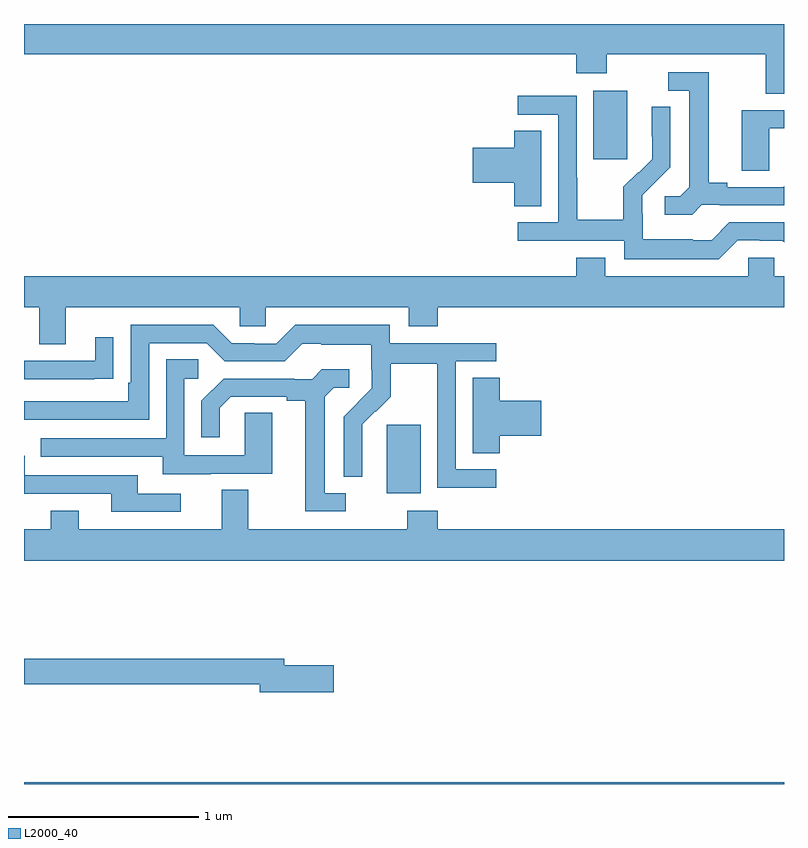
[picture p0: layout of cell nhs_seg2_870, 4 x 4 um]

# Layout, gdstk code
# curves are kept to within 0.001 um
import gdstk
lib = gdstk.Library(unit=1e-6, precision=1e-09)
def R(c, l, rs):  # rectangles x0, y0, x1, y1
    for r in rs: c.add(gdstk.rectangle(r[:2], r[2:], *l))
def P(c, l, *ps):  # polygons
    for p in ps: c.add(gdstk.Polygon(p, *l))
L2000_40 = (2000, 40)

nhs_seg2_870 = lib.new_cell('nhs_seg2_870')
R(nhs_seg2_870, L2000_40, [(155,639.8,159,639.808), (156.908,641.33,157.087,641.691), (157.997,643.089,158.176,643.45)])
P(nhs_seg2_870, L2000_40, [(159,643.8),(155,643.8),(155,643.64),(157.907,643.64),(157.907,643.541),(158.067,643.541),(158.067,643.64),(158.903,643.64),(158.903,643.432),(159,643.432)],
  [(158.568,642.849),(158.662,642.849),(158.662,642.846),(159,642.846),(159,642.946),(158.996,642.942),(158.701,642.942),(158.701,642.965),(158.605,642.965),(158.605,643.545),(158.391,643.545),(158.391,643.449),(158.501,643.449),(158.501,642.941),(158.454,642.894),(158.373,642.894),(158.373,642.797),(158.516,642.797)],
  [(158.757,642.663),(158.873,642.663),(158.873,642.66),(158.991,642.66),(159,642.651),(159,642.756),(158.712,642.756),(158.619,642.663),(158.519,642.663),(158.519,642.667),(158.256,642.667),(158.256,642.801),(158.254,642.801),(158.254,642.898),(158.4,643.046),(158.4,643.364),(158.304,643.364),(158.304,643.21),(158.306,643.21),(158.306,643.088),(158.235,643.017),(158.232,643.02),(158.155,642.943),(158.155,642.769),(157.911,642.769),(157.911,642.992),(157.908,642.992),(157.908,643.422),(157.599,643.422),(157.599,643.323),(157.812,643.323),(157.812,642.756),(157.599,642.756),(157.599,642.66),(158.16,642.66),(158.16,642.563),(158.657,642.563)],
  [(158.922,643.251),(159,643.251),(159,643.347),(158.777,643.347),(158.777,643.027),(158.922,643.027)],
  [(157.723,643.238),(157.58,643.238),(157.58,643.148),(157.362,643.148),(157.362,642.965),(157.58,642.965),(157.58,642.841),(157.723,642.841)],
  [(155.221,642.308),(156.135,642.308),(156.135,642.21),(156.273,642.21),(156.273,642.308),(157.025,642.308),(157.025,642.209),(157.178,642.209),(157.178,642.308),(159,642.308),(159,642.472),(158.949,642.472),(158.949,642.57),(158.811,642.57),(158.811,642.472),(158.059,642.472),(158.059,642.571),(157.907,642.571),(157.907,642.472),(155,642.472),(155,642.308),(155.081,642.308),(155.081,642.114),(155.221,642.114)],
  [(157.486,641.457),(157.272,641.457),(157.272,642.024),(157.486,642.024),(157.486,642.12),(156.924,642.12),(156.924,642.217),(156.427,642.217),(156.327,642.117),(156.212,642.117),(156.212,642.12),(156.093,642.12),(155.997,642.216),(155.562,642.216),(155.562,641.911),(155.549,641.911),(155.549,641.814),(155,641.814),(155,641.718),(155.658,641.718),(155.658,642.12),(155.961,642.12),(156.057,642.024),(156.372,642.024),(156.465,642.117),(156.565,642.117),(156.565,642.113),(156.828,642.113),(156.828,641.979),(156.83,641.979),(156.83,641.882),(156.684,641.734),(156.684,641.416),(156.78,641.416),(156.779,641.693),(156.849,641.763),(156.852,641.76),(156.929,641.837),(156.929,642.012),(157.174,642.012),(157.174,641.788),(157.176,641.788),(157.176,641.359),(157.486,641.359)],
  [(155.369,641.932),(155.471,641.932),(155.471,642.151),(155.375,642.151),(155.375,642.027),(155,642.027),(155,641.931),(155.369,641.931)],
  [(155.983,641.433),(156.307,641.433),(156.307,641.753),(156.162,641.753),(156.162,641.529),(155.844,641.529),(155.844,641.934),(155.917,641.934),(155.917,642.035),(155.748,642.035),(155.748,641.619),(155.089,641.619),(155.089,641.523),(155.729,641.523),(155.729,641.429),(155.983,641.429)],
  [(156.694,641.331),(156.583,641.331),(156.583,641.839),(156.63,641.886),(156.712,641.886),(156.712,641.983),(156.568,641.983),(156.516,641.931),(156.422,641.931),(156.422,641.934),(156.05,641.934),(155.934,641.818),(155.934,641.625),(156.031,641.625),(156.031,641.781),(156.088,641.838),(156.383,641.838),(156.383,641.816),(156.479,641.816),(156.479,641.235),(156.694,641.235)],
  [(157.505,641.633),(157.723,641.633),(157.723,641.816),(157.505,641.816),(157.505,641.939),(157.361,641.939),(157.361,641.542),(157.505,641.542)],
  [(155.824,641.328),(155.599,641.328),(155.599,641.424),(155.004,641.424),(155.004,641.527),(155,641.527),(155,641.328),(155.459,641.328),(155.459,641.232),(155.824,641.232)],
  [(159,641.14),(157.178,641.14),(157.178,641.239),(157.018,641.239),(157.018,641.14),(156.181,641.14),(156.181,641.348),(156.041,641.348),(156.041,641.14),(155.287,641.14),(155.287,641.239),(155.14,641.239),(155.14,641.14),(155,641.14),(155,640.976),(159,640.976)],
  [(156.631,640.424),(156.37,640.424),(156.37,640.46),(155,640.46),(155,640.324),(156.242,640.324),(156.242,640.282),(156.631,640.282)])

lib.write_gds('nhs_seg2_870.gds')
